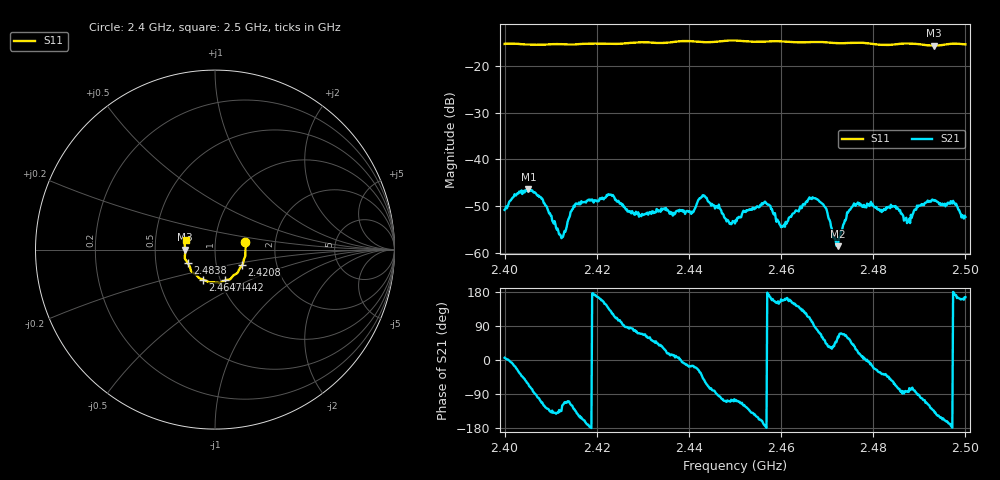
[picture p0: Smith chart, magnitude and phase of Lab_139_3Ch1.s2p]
# Hz S RI R 50
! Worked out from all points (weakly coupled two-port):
!   601 points, 2.4 GHz to 2.5 GHz, reference 50 ohm
!   highest |S21| = -46.32 dB at 2.4052 GHz (marker M1); lowest = -58.6 dB at 2.4723 GHz (marker M2)
!   lowest |S11| = -15.6 dB at 2.4932 GHz (marker M3), VSWR 1.40, Z = 35.8 - j0.0841 ohm
!   |S11| at or under -10 dB: start of sweep to end of sweep
!   S12 and S22 are empty: the file has one direction only
!   S11 on the Smith chart (normalised r, x): 2.4 GHz: 1.40, +0.12; 2.4208 GHz: 1.33, -0.24; 2.4442 GHz: 1.05, -0.37; 2.4647 GHz: 0.83, -0.29; 2.4838 GHz: 0.73, -0.11; 2.5 GHz: 0.72, +0.08
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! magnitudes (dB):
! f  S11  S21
! 2.4 GHz  -15.2  -50.8
! 2.4052 GHz  -15.4  -46.3
! 2.4082 GHz  -15.4  -48.4
! 2.4123 GHz  -15.3  -56.9
! 2.4148 GHz  -15.4  -50.6
! 2.4167 GHz  -15.2  -49.0
! 2.4208 GHz  -15.2  -48.4
! 2.4333 GHz  -15.0  -51.2
! 2.4442 GHz  -14.9  -49.0
! 2.45 GHz  -14.5  -53.7
! 2.4563 GHz  -14.8  -49.2
! 2.4603 GHz  -14.7  -54.5
! 2.4647 GHz  -14.9  -49.8
! 2.4667 GHz  -14.8  -48.5
! 2.4695 GHz  -14.9  -50.1
! 2.4723 GHz  -15.1  -58.6
! 2.4762 GHz  -15.0  -49.9
! 2.4833 GHz  -15.5  -50.1
! 2.4838 GHz  -15.4  -49.7
! 2.4875 GHz  -15.2  -53.4
! 2.4932 GHz  -15.6  -48.7
! 2.5 GHz  -15.3  -52.3
